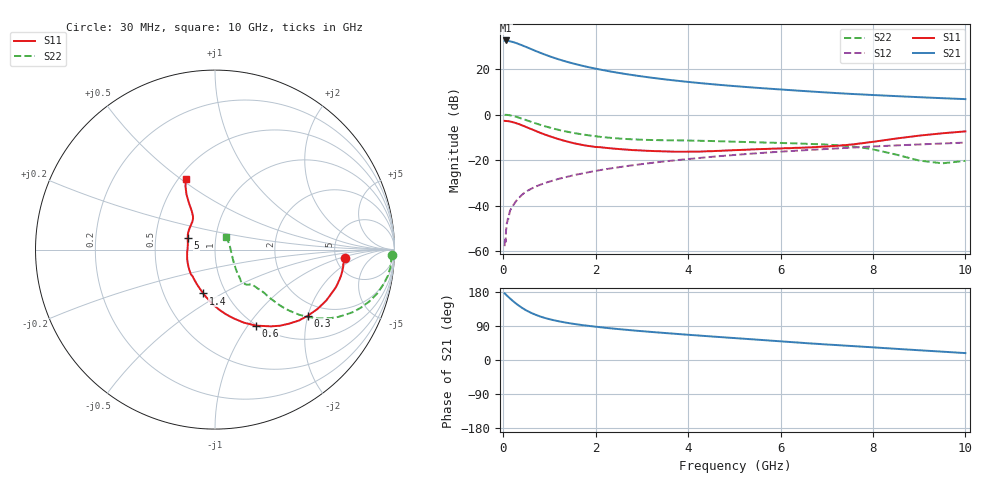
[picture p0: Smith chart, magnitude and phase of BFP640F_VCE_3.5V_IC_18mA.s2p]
! Infineon Technologies  Discrete & RF Semiconductors
! BFP640F
! VCE =  3.5 V,  IC =  18 mA
! Common Emitter S-Parameters:  Apr 2013
# GHz  S  MA  R  50
!  f  S11  S21  S12  S22
! GHz  MAG  ANG  MAG  ANG  MAG  ANG  MAG  ANG
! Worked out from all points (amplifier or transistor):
!   99 points, 30 MHz to 10 GHz, reference 50 ohm
!   highest |S21| = 32.5 dB at 50 MHz (marker M1)
!   |S21| within 3 dB of that: start of sweep to 513.5 MHz
!   unconditionally stable (mu >= 1): 2.349 GHz to end of sweep
!   at 350 MHz: K = 0.33, MSG = 33.6 dB, |S12| = -36.4 dB
!   at 3.5 GHz: K = 1.05, MAG = 16.6 dB, |S12| = -20.6 dB
!   at 10 GHz: K = 1.05, MAG = 8.1 dB, |S12| = -12.3 dB
!   S11 on the Smith chart (normalised r, x): 30 MHz: 6.09, -1.15; 300 MHz: 1.62, -2.00; 600 MHz: 0.99, -1.09; 1.4 GHz: 0.78, -0.41; 5 GHz: 0.73, +0.10; 10 GHz: 0.54, +0.52
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0.03  0.7266 -3.5  41.66 176.0  0.0013 87.6  0.9843 -1.8
0.05  0.7191 -6.5  41.99 173.8  0.0016 12.6  0.9828 -3.7
0.11  0.7132 -13.7  41.02 166.6  0.0051 87.0  0.9747 -8.5
0.2  0.6821 -24.5  39.08 156.7  0.0097 81.9  0.9359 -15.2
0.3  0.6356 -35.4  36.24 146.8  0.0135 75.6  0.8783 -21.4
0.4  0.5825 -45.2  33.13 138.2  0.0171 73.2  0.8129 -26.5
0.45  0.557 -49.6  31.54 134.4  0.019 71.3  0.7816 -28.7
0.5  0.5292 -53.9  30.12 130.8  0.0206 70.7  0.7512 -30.5
0.6  0.4812 -61.7  27.29 124.6  0.0234 68.6  0.6928 -33.6
0.7  0.4379 -68.4  24.74 119.4  0.0263 68.4  0.6407 -35.9
0.8  0.3969 -74.9  22.55 114.8  0.0288 67.5  0.5941 -37.7
0.9  0.3642 -80.6  20.62 111.0  0.0315 67.2  0.5532 -38.9
1.1  0.3108 -91.0  17.46 104.8  0.0362 66.4  0.4867 -40.5
1.4  0.2532 -105.0  14.11 97.7  0.0435 65.8  0.4164 -41.3
1.7  0.2167 -118.0  11.79 92.3  0.0506 65.3  0.3677 -41.3
2.4  0.1787 -144.8  8.493 82.7  0.0677 63.4  0.3034 -42.7
3.4  0.1566 -173.1  6.06 72.2  0.0915 59.8  0.2734 -45.2
5  0.1655 157.1  4.199 57.9  0.1297 52.8  0.2534 -49.1
5.1  0.1665 155.6  4.123 57.0  0.1323 52.3  0.2522 -49.3
6.7  0.1918 133.9  3.176 43.3  0.1689 43.9  0.2254 -50.5
8.5  0.2975 119.2  2.53 29.5  0.2102 34.2  0.1324 -36.7
10  0.4266 112.5  2.173 18.2  0.2423 25.7  0.0964 48.4
